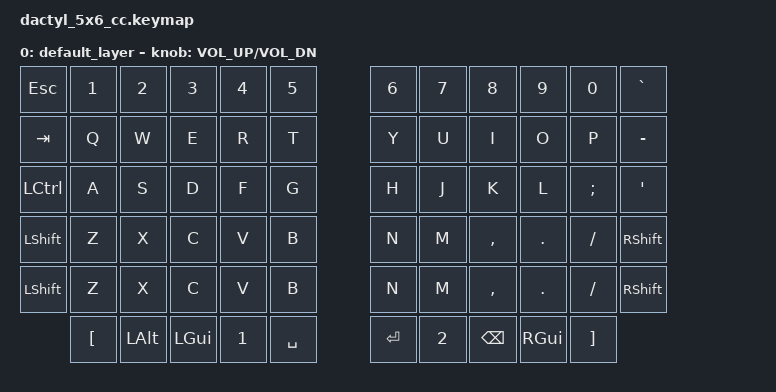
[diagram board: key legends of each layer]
#include <behaviors.dtsi>
#include <dt-bindings/zmk/keys.h>

/ {
    keymap {
        compatible = "zmk,keymap";

        default_layer {
// ------------------------------------------------------------------------------------------------------------
// |  ESC  |  1  |  2  |  3   |  4   |  5   |                   |  6   |  7    |  8    |  9   |   0   |   `   |
// |  TAB  |  Q  |  W  |  E   |  R   |  T   |                   |  Y   |  U    |  I    |  O   |   P   |   -   |
// |  CTRL |  A  |  S  |  D   |  F   |  G   |                   |  H   |  J    |  K    |  L   |   ;   |   '   |
// | SHIFT |  Z  |  X  |  C   |  V   |  B   |   "["  |  |  "]"  |  N   |  M    |  ,    |  .   |   /   | SHIFT |
//                     | ALT  | GUI  | LOWER|  SPACE |  | ENTER | RAISE| BSPC  | GUI   |
            bindings = <
&kp ESC   &kp N1 &kp N2 &kp N3   &kp N4   &kp N5                     &kp N6 &kp N7   &kp N8    &kp N9  &kp N0   &kp GRAVE
&kp TAB   &kp Q  &kp W  &kp E    &kp R    &kp T                      &kp Y  &kp U    &kp I     &kp O   &kp P    &kp MINUS
&kp LCTRL &kp A  &kp S  &kp D    &kp F    &kp G                      &kp H  &kp J    &kp K     &kp L   &kp SEMI &kp SQT
&kp LSHFT &kp Z  &kp X  &kp C    &kp V    &kp B                      &kp N  &kp M    &kp COMMA &kp DOT &kp FSLH &kp RSHFT
&kp LSHFT &kp Z  &kp X  &kp C    &kp V    &kp B                      &kp N  &kp M    &kp COMMA &kp DOT &kp FSLH &kp RSHFT
&kp LBKT    &kp LALT &kp LGUI &kp 1  &kp SPACE  &kp RET  &kp 2  &kp BSPC &kp RGUI &kp RBKT
            >;

            sensor-bindings = <&inc_dec_kp C_VOL_UP C_VOL_DN>;
        };

    };
};
